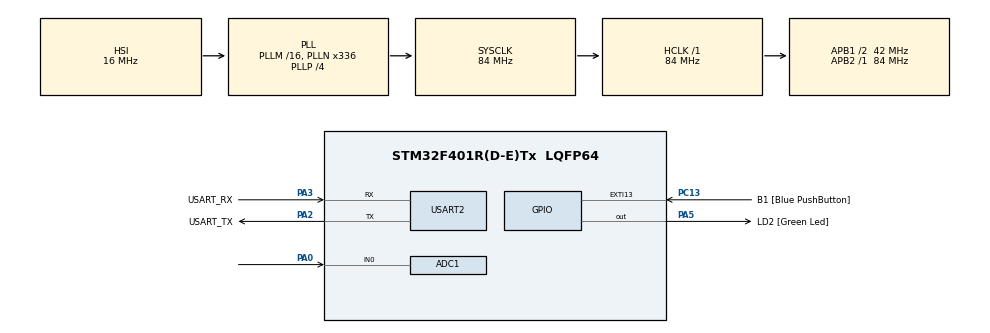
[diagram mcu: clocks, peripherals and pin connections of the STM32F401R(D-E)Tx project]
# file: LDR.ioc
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ADC1.Channel-0\#ChannelRegularConversion=ADC_CHANNEL_0
ADC1.ContinuousConvMode=DISABLE
ADC1.DMAContinuousRequests=ENABLE
ADC1.ExternalTrigConv=ADC_EXTERNALTRIGCONV_T2_TRGO
ADC1.NbrOfConversionFlag=1
ADC1.Rank-0\#ChannelRegularConversion=1
ADC1.SamplingTime-0\#ChannelRegularConversion=ADC_SAMPLETIME_480CYCLES
ADC1.master=1
Dma.ADC1.0.Direction=DMA_PERIPH_TO_MEMORY
Dma.ADC1.0.FIFOMode=DMA_FIFOMODE_DISABLE
Dma.ADC1.0.Instance=DMA2_Stream0
Dma.ADC1.0.MemDataAlignment=DMA_MDATAALIGN_HALFWORD
Dma.ADC1.0.MemInc=DMA_MINC_ENABLE
Dma.ADC1.0.Mode=DMA_CIRCULAR
Dma.ADC1.0.PeriphDataAlignment=DMA_PDATAALIGN_HALFWORD
Dma.ADC1.0.PeriphInc=DMA_PINC_DISABLE
Dma.ADC1.0.Priority=DMA_PRIORITY_LOW
Dma.Request0=ADC1
Mcu.Family=STM32F4
Mcu.Name=STM32F401R(D-E)Tx
Mcu.Package=LQFP64
NVIC.ADC_IRQn=true\:0\:0\:false\:false\:true\:true\:true\:true
NVIC.DMA2_Stream0_IRQn=true\:0\:0\:false\:false\:true\:false\:true\:true
NVIC.PriorityGroup=NVIC_PRIORITYGROUP_0
NVIC.TIM2_IRQn=true\:0\:0\:false\:false\:true\:true\:true\:true
PA0-WKUP.Signal=ADCx_IN0
PA13.GPIO_Label=TMS
PA13.Mode=Serial_Wire
PA13.Signal=SYS_JTMS-SWDIO
PA14.GPIO_Label=TCK
PA14.Mode=Serial_Wire
PA14.Signal=SYS_JTCK-SWCLK
PA2.GPIO_Label=USART_TX
PA2.GPIO_Mode=GPIO_MODE_AF_PP
PA2.GPIO_PuPd=GPIO_NOPULL
PA2.GPIO_Speed=GPIO_SPEED_FREQ_LOW
PA2.Mode=Asynchronous
PA2.Signal=USART2_TX
PA3.GPIO_Label=USART_RX
PA3.GPIO_Mode=GPIO_MODE_AF_PP
PA3.GPIO_PuPd=GPIO_NOPULL
PA3.GPIO_Speed=GPIO_SPEED_FREQ_LOW
PA3.Mode=Asynchronous
PA3.Signal=USART2_RX
PA5.GPIO_Label=LD2 [Green Led]
PA5.GPIO_Mode=GPIO_MODE_OUTPUT_PP
PA5.GPIO_PuPd=GPIO_NOPULL
PA5.GPIO_Speed=GPIO_SPEED_FREQ_LOW
PA5.Signal=GPIO_Output
PB3.GPIO_Label=SWO
PB3.Signal=SYS_JTDO-SWO
PC13-ANTI_TAMP.GPIO_Label=B1 [Blue PushButton]
PC13-ANTI_TAMP.GPIO_ModeDefaultEXTI=GPIO_MODE_IT_FALLING
PC13-ANTI_TAMP.GPIO_PuPd=GPIO_NOPULL
PC13-ANTI_TAMP.Signal=GPXTI13
PC14-OSC32_IN.Mode=LSE-External-Oscillator
PC14-OSC32_IN.Signal=RCC_OSC32_IN
PC15-OSC32_OUT.Mode=LSE-External-Oscillator
PC15-OSC32_OUT.Signal=RCC_OSC32_OUT
PH0\ -\ OSC_IN.Mode=HSE-External-Clock-Source
PH0\ -\ OSC_IN.Signal=RCC_OSC_IN
PH1\ -\ OSC_OUT.Mode=HSE-External-Clock-Source
PH1\ -\ OSC_OUT.Signal=RCC_OSC_OUT
ProjectManager.HeapSize=0x200
ProjectManager.StackSize=0x400
ProjectManager.TargetToolchain=STM32CubeIDE
RCC.48MHZClocksFreq_Value=48000000
RCC.AHBFreq_Value=84000000
RCC.APB1CLKDivider=RCC_HCLK_DIV2
RCC.APB1Freq_Value=42000000
RCC.APB1TimFreq_Value=84000000
RCC.APB2Freq_Value=84000000
RCC.APB2TimFreq_Value=84000000
RCC.CortexFreq_Value=84000000
RCC.HCLKFreq_Value=84000000
RCC.HSE_VALUE=8000000
RCC.HSI_VALUE=16000000
RCC.PLLN=336
RCC.PLLP=RCC_PLLP_DIV4
RCC.PLLQ=7
RCC.SYSCLKFreq_VALUE=84000000
RCC.SYSCLKSource=RCC_SYSCLKSOURCE_PLLCLK
RCC.VCOOutputFreq_Value=336000000
SH.ADCx_IN0.0=ADC1_IN0,IN0
TIM2.AutoReloadPreload=TIM_AUTORELOAD_PRELOAD_ENABLE
TIM2.Period=1000-1
TIM2.Prescaler=84-1
TIM2.TIM_MasterOutputTrigger=TIM_TRGO_UPDATE
USART2.VirtualMode=VM_ASYNC
VP_TIM2_VS_ClockSourceINT.Mode=Internal
board=NUCLEO-F401RE

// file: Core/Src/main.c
/* USER CODE BEGIN Header */
/**
  ******************************************************************************
  * @file           : main.c
  * @brief          : Main program body
  ******************************************************************************
  * @attention
  *
  * Copyright (c) 2022 STMicroelectronics.
  * All rights reserved.
  *
  * This software is licensed under terms that can be found in the LICENSE file
  * in the root directory of this software component.
  * If no LICENSE file comes with this software, it is provided AS-IS.
  *
  ******************************************************************************
  */
/* USER CODE END Header */
#include "main.h"

/* USER CODE BEGIN Includes */
#include <stdio.h>
#include <string.h>
#include <math.h>
/* USER CODE END Includes */

/* USER CODE BEGIN PM */
#define VSENSE 3.3/4096
#define BASERESISTANCE 100 //kohm
#define MAXVOLT 3.3
#define LENGTH 2000
/* USER CODE END PM */

ADC_HandleTypeDef hadc1;
DMA_HandleTypeDef hdma_adc1;

TIM_HandleTypeDef htim2;

UART_HandleTypeDef huart2;

/* USER CODE BEGIN PV */
uint16_t adcValue[LENGTH];
int nOfConversions = 0;
float sumLightIntensity = 0;
/* USER CODE END PV */

void SystemClock_Config(void);
static void MX_GPIO_Init(void);
static void MX_DMA_Init(void);
static void MX_USART2_UART_Init(void);
static void MX_ADC1_Init(void);
static void MX_TIM2_Init(void);

/* USER CODE BEGIN 0 */
float getLightIntensity(uint16_t adcResistanceValue){
	float resistanceVoltage = adcResistanceValue*VSENSE;
	float LDR_inv = (MAXVOLT-resistanceVoltage)/(resistanceVoltage*BASERESISTANCE);
	return 10*pow(BASERESISTANCE*LDR_inv, 1.25);
}
/* USER CODE END 0 */

int main(void)
{

  /* MCU Configuration--------------------------------------------------------*/

  /* Reset of all peripherals, Initializes the Flash interface and the Systick. */
  HAL_Init();

  /* Configure the system clock */
  SystemClock_Config();

  /* Initialize all configured peripherals */
  MX_GPIO_Init();
  MX_DMA_Init();
  MX_USART2_UART_Init();
  MX_ADC1_Init();
  MX_TIM2_Init();
  /* USER CODE BEGIN 2 */
  HAL_TIM_Base_Start_IT(&htim2);
  HAL_ADC_Start_DMA(&hadc1, (uint32_t*)adcValue, adcValue/adcValue[0]);
  /* USER CODE END 2 */

  /* Infinite loop */
  while (1)
  {

  }
}

void SystemClock_Config(void)
{
  RCC_OscInitTypeDef RCC_OscInitStruct = {0};
  RCC_ClkInitTypeDef RCC_ClkInitStruct = {0};

  /** Configure the main internal regulator output voltage
  */
  __HAL_RCC_PWR_CLK_ENABLE();
  __HAL_PWR_VOLTAGESCALING_CONFIG(PWR_REGULATOR_VOLTAGE_SCALE2);

  /** Initializes the RCC Oscillators according to the specified parameters
  * in the RCC_OscInitTypeDef structure.
  */
  RCC_OscInitStruct.OscillatorType = RCC_OSCILLATORTYPE_HSI;
  RCC_OscInitStruct.HSIState = RCC_HSI_ON;
  RCC_OscInitStruct.HSICalibrationValue = RCC_HSICALIBRATION_DEFAULT;
  RCC_OscInitStruct.PLL.PLLState = RCC_PLL_ON;
  RCC_OscInitStruct.PLL.PLLSource = RCC_PLLSOURCE_HSI;
  RCC_OscInitStruct.PLL.PLLM = 16;
  RCC_OscInitStruct.PLL.PLLN = 336;
  RCC_OscInitStruct.PLL.PLLP = RCC_PLLP_DIV4;
  RCC_OscInitStruct.PLL.PLLQ = 7;
  if (HAL_RCC_OscConfig(&RCC_OscInitStruct) != HAL_OK)
  {
    Error_Handler();
  }

  /** Initializes the CPU, AHB and APB buses clocks
  */
  RCC_ClkInitStruct.ClockType = RCC_CLOCKTYPE_HCLK|RCC_CLOCKTYPE_SYSCLK
                              |RCC_CLOCKTYPE_PCLK1|RCC_CLOCKTYPE_PCLK2;
  RCC_ClkInitStruct.SYSCLKSource = RCC_SYSCLKSOURCE_PLLCLK;
  RCC_ClkInitStruct.AHBCLKDivider = RCC_SYSCLK_DIV1;
  RCC_ClkInitStruct.APB1CLKDivider = RCC_HCLK_DIV2;
  RCC_ClkInitStruct.APB2CLKDivider = RCC_HCLK_DIV1;

  if (HAL_RCC_ClockConfig(&RCC_ClkInitStruct, FLASH_LATENCY_2) != HAL_OK)
  {
    Error_Handler();
  }
}

static void MX_ADC1_Init(void)
{

  ADC_ChannelConfTypeDef sConfig = {0};

  /** Configure the global features of the ADC (Clock, Resolution, Data Alignment and number of conversion)
  */
  hadc1.Instance = ADC1;
  hadc1.Init.ClockPrescaler = ADC_CLOCK_SYNC_PCLK_DIV4;
  hadc1.Init.Resolution = ADC_RESOLUTION_12B;
  hadc1.Init.ScanConvMode = DISABLE;
  hadc1.Init.ContinuousConvMode = DISABLE;
  hadc1.Init.DiscontinuousConvMode = DISABLE;
  hadc1.Init.ExternalTrigConvEdge = ADC_EXTERNALTRIGCONVEDGE_RISING;
  hadc1.Init.ExternalTrigConv = ADC_EXTERNALTRIGCONV_T2_TRGO;
  hadc1.Init.DataAlign = ADC_DATAALIGN_RIGHT;
  hadc1.Init.NbrOfConversion = LENGTH;
  hadc1.Init.DMAContinuousRequests = ENABLE;
  hadc1.Init.EOCSelection = ADC_EOC_SINGLE_CONV;
  if (HAL_ADC_Init(&hadc1) != HAL_OK)
  {
    Error_Handler();
  }

  /** Configure for the selected ADC regular channel its corresponding rank in the sequencer and its sample time.
  */
  sConfig.Channel = ADC_CHANNEL_0;
  sConfig.Rank = 1;
  sConfig.SamplingTime = ADC_SAMPLETIME_480CYCLES;
  if (HAL_ADC_ConfigChannel(&hadc1, &sConfig) != HAL_OK)
  {
    Error_Handler();
  }

}

static void MX_TIM2_Init(void)
{

  TIM_ClockConfigTypeDef sClockSourceConfig = {0};
  TIM_MasterConfigTypeDef sMasterConfig = {0};

  htim2.Instance = TIM2;
  htim2.Init.Prescaler = 84-1;
  htim2.Init.CounterMode = TIM_COUNTERMODE_UP;
  htim2.Init.Period = 1000-1;
  htim2.Init.ClockDivision = TIM_CLOCKDIVISION_DIV1;
  htim2.Init.AutoReloadPreload = TIM_AUTORELOAD_PRELOAD_ENABLE;
  if (HAL_TIM_Base_Init(&htim2) != HAL_OK)
  {
    Error_Handler();
  }
  sClockSourceConfig.ClockSource = TIM_CLOCKSOURCE_INTERNAL;
  if (HAL_TIM_ConfigClockSource(&htim2, &sClockSourceConfig) != HAL_OK)
  {
    Error_Handler();
  }
  sMasterConfig.MasterOutputTrigger = TIM_TRGO_UPDATE;
  sMasterConfig.MasterSlaveMode = TIM_MASTERSLAVEMODE_DISABLE;
  if (HAL_TIMEx_MasterConfigSynchronization(&htim2, &sMasterConfig) != HAL_OK)
  {
    Error_Handler();
  }

}

static void MX_USART2_UART_Init(void)
{

  huart2.Instance = USART2;
  huart2.Init.BaudRate = 115200;
  huart2.Init.WordLength = UART_WORDLENGTH_8B;
  huart2.Init.StopBits = UART_STOPBITS_1;
  huart2.Init.Parity = UART_PARITY_NONE;
  huart2.Init.Mode = UART_MODE_TX_RX;
  huart2.Init.HwFlowCtl = UART_HWCONTROL_NONE;
  huart2.Init.OverSampling = UART_OVERSAMPLING_16;
  if (HAL_UART_Init(&huart2) != HAL_OK)
  {
    Error_Handler();
  }

}

static void MX_DMA_Init(void)
{

  /* DMA controller clock enable */
  __HAL_RCC_DMA2_CLK_ENABLE();

  /* DMA interrupt init */
  /* DMA2_Stream0_IRQn interrupt configuration */
  HAL_NVIC_SetPriority(DMA2_Stream0_IRQn, 0, 0);
  HAL_NVIC_EnableIRQ(DMA2_Stream0_IRQn);

}

static void MX_GPIO_Init(void)
{
  GPIO_InitTypeDef GPIO_InitStruct = {0};

  /* GPIO Ports Clock Enable */
  __HAL_RCC_GPIOC_CLK_ENABLE();
  __HAL_RCC_GPIOH_CLK_ENABLE();
  __HAL_RCC_GPIOA_CLK_ENABLE();
  __HAL_RCC_GPIOB_CLK_ENABLE();

  /*Configure GPIO pin Output Level */
  HAL_GPIO_WritePin(LD2_GPIO_Port, LD2_Pin, GPIO_PIN_RESET);

  /*Configure GPIO pin : B1_Pin */
  GPIO_InitStruct.Pin = B1_Pin;
  GPIO_InitStruct.Mode = GPIO_MODE_IT_FALLING;
  GPIO_InitStruct.Pull = GPIO_NOPULL;
  HAL_GPIO_Init(B1_GPIO_Port, &GPIO_InitStruct);

  /*Configure GPIO pin : LD2_Pin */
  GPIO_InitStruct.Pin = LD2_Pin;
  GPIO_InitStruct.Mode = GPIO_MODE_OUTPUT_PP;
  GPIO_InitStruct.Pull = GPIO_NOPULL;
  GPIO_InitStruct.Speed = GPIO_SPEED_FREQ_LOW;
  HAL_GPIO_Init(LD2_GPIO_Port, &GPIO_InitStruct);

}

/* USER CODE BEGIN 4 */
void HAL_ADC_ConvCpltCallback(ADC_HandleTypeDef* hadc){
	float lightIntensity = getLightIntensity(adcValue[0]);
	sumLightIntensity += lightIntensity;
	nOfConversions++;

	if(nOfConversions == 1000){
		float meanLightIntensity = sumLightIntensity/nOfConversions;
		char string[64];
		int length = snprintf(string, 64, "mean light intensity: %.3f lux\n\r", meanLightIntensity);
		HAL_UART_Transmit(&huart2, (const uint8_t*)string, length, 64);
		sumLightIntensity = 0;
		nOfConversions = 0;
	}
}
/* USER CODE END 4 */

void Error_Handler(void)
{
  __disable_irq();
  while (1)
  {
  }
}
